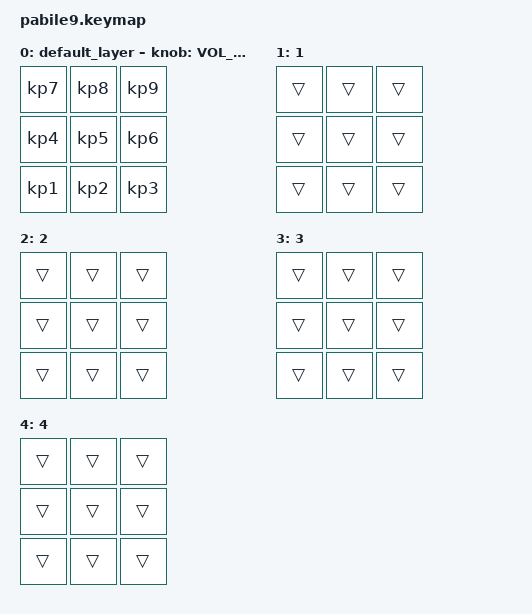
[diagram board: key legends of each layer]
/*
 * Copyright (c) 2025 The ZMK Contributors
 *
 * SPDX-License-Identifier: MIT
 */

#include <behaviors.dtsi>
#include <dt-bindings/zmk/keys.h>
#include <dt-bindings/zmk/bt.h>
#include <dt-bindings/zmk/outputs.h>
#include <dt-bindings/zmk/rgb.h>
#include <dt-bindings/zmk/ext_power.h>
#include <dt-bindings/zmk/pointing.h>

/ {
	keymap {
		compatible = "zmk,keymap";

		default_layer {
			// ----------------------
			// |  O   |  O   |  O   |
			// ----------------------
			// |  7   |  8   |  9   |
			// |  4   |  5   |  6   |
			// |  1   |  2   |  3   |

            sensor-bindings = <&inc_dec_kp C_VOL_UP C_VOL_DN &inc_dec_kp C_VOL_UP C_VOL_DN &inc_dec_kp C_VOL_UP C_VOL_DN>;

			bindings = <
				&kp KP_N7     &kp KP_N8    &kp KP_N9
				&kp KP_N4     &kp KP_N5    &kp KP_N6
				&kp KP_N1     &kp KP_N2    &kp KP_N3
			>;
		};
		1 {
			bindings = <
                &trans   &trans    &trans
                &trans   &trans    &trans
                &trans   &trans    &trans
			>;
		};
		2 {
			bindings = <
                &trans   &trans    &trans
                &trans   &trans    &trans
                &trans   &trans    &trans
			>;
		};
		3 {
			bindings = <
                &trans   &trans    &trans
                &trans   &trans    &trans
                &trans   &trans    &trans
			>;
		};
		4 {
			bindings = <
                &trans   &trans    &trans
                &trans   &trans    &trans
                &trans   &trans    &trans
			>;
		};
	};
};

